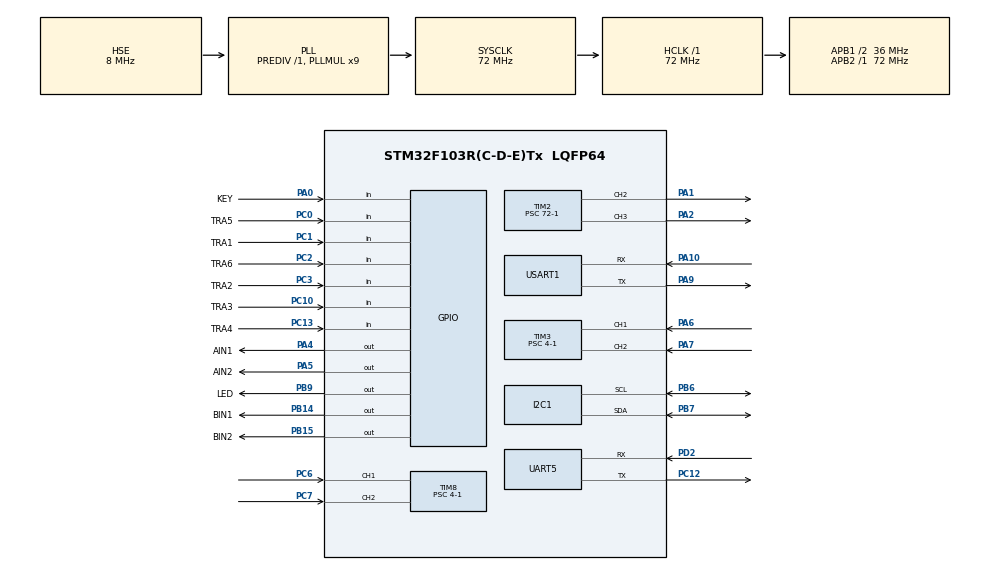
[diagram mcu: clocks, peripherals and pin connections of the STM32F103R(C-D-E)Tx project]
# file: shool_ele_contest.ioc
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I2C1.I2C_Mode=I2C_Fast
Mcu.Family=STM32F1
Mcu.Name=STM32F103R(C-D-E)Tx
Mcu.Package=LQFP64
NVIC.PriorityGroup=NVIC_PRIORITYGROUP_4
NVIC.TIM4_IRQn=true\:0\:0\:false\:false\:true\:true\:true\:true
NVIC.UART5_IRQn=true\:0\:0\:false\:false\:true\:true\:true\:true
PA0-WKUP.GPIO_Label=KEY
PA0-WKUP.GPIO_PuPd=GPIO_PULLDOWN
PA0-WKUP.Signal=GPIO_Input
PA1.Signal=S_TIM2_CH2
PA10.Mode=Asynchronous
PA10.Signal=USART1_RX
PA13.Mode=Serial_Wire
PA13.Signal=SYS_JTMS-SWDIO
PA14.Mode=Serial_Wire
PA14.Signal=SYS_JTCK-SWCLK
PA2.Signal=S_TIM2_CH3
PA4.GPIO_Label=AIN1
PA4.Signal=GPIO_Output
PA5.GPIO_Label=AIN2
PA5.Signal=GPIO_Output
PA6.Signal=S_TIM3_CH1
PA7.Signal=S_TIM3_CH2
PA9.Mode=Asynchronous
PA9.Signal=USART1_TX
PB14.GPIO_Label=BIN1
PB14.Signal=GPIO_Output
PB15.GPIO_Label=BIN2
PB15.Signal=GPIO_Output
PB6.Mode=I2C
PB6.Signal=I2C1_SCL
PB7.Mode=I2C
PB7.Signal=I2C1_SDA
PB9.GPIO_Label=LED
PB9.Signal=GPIO_Output
PC0.GPIO_Label=TRA5
PC0.Signal=GPIO_Input
PC1.GPIO_Label=TRA1
PC1.Signal=GPIO_Input
PC10.GPIO_Label=TRA3
PC10.Signal=GPIO_Input
PC12.Mode=Asynchronous
PC12.Signal=UART5_TX
PC13-TAMPER-RTC.GPIO_Label=TRA4
PC13-TAMPER-RTC.Signal=GPIO_Input
PC14-OSC32_IN.Mode=LSE-External-Oscillator
PC14-OSC32_IN.Signal=RCC_OSC32_IN
PC15-OSC32_OUT.Mode=LSE-External-Oscillator
PC15-OSC32_OUT.Signal=RCC_OSC32_OUT
PC2.GPIO_Label=TRA6
PC2.Signal=GPIO_Input
PC3.GPIO_Label=TRA2
PC3.Signal=GPIO_Input
PC6.Signal=S_TIM8_CH1
PC7.Signal=S_TIM8_CH2
PD0-OSC_IN.Mode=HSE-External-Oscillator
PD0-OSC_IN.Signal=RCC_OSC_IN
PD1-OSC_OUT.Mode=HSE-External-Oscillator
PD1-OSC_OUT.Signal=RCC_OSC_OUT
PD2.Mode=Asynchronous
PD2.Signal=UART5_RX
ProjectManager.HeapSize=0x200
ProjectManager.StackSize=0x400
ProjectManager.TargetToolchain=MDK-ARM V5.32
RCC.AHBFreq_Value=72000000
RCC.APB1CLKDivider=RCC_HCLK_DIV2
RCC.APB1Freq_Value=36000000
RCC.APB1TimFreq_Value=72000000
RCC.APB2Freq_Value=72000000
RCC.APB2TimFreq_Value=72000000
RCC.HCLKFreq_Value=72000000
RCC.PLLMUL=RCC_PLL_MUL9
RCC.PLLSourceVirtual=RCC_PLLSOURCE_HSE
RCC.SYSCLKFreq_VALUE=72000000
RCC.SYSCLKSource=RCC_SYSCLKSOURCE_PLLCLK
RCC.USBFreq_Value=72000000
SH.S_TIM2_CH2.0=TIM2_CH2,PWM Generation2 CH2
SH.S_TIM2_CH3.0=TIM2_CH3,PWM Generation3 CH3
SH.S_TIM3_CH1.0=TIM3_CH1,Encoder_Interface
SH.S_TIM3_CH2.0=TIM3_CH2,Encoder_Interface
SH.S_TIM8_CH1.0=TIM8_CH1,Encoder_Interface
SH.S_TIM8_CH2.0=TIM8_CH2,Encoder_Interface
TIM2.AutoReloadPreload=TIM_AUTORELOAD_PRELOAD_ENABLE
TIM2.Channel-PWM\ Generation2\ CH2=TIM_CHANNEL_2
TIM2.Channel-PWM\ Generation3\ CH3=TIM_CHANNEL_3
TIM2.Period=10000-1
TIM2.Prescaler=72-1
TIM3.AutoReloadPreload=TIM_AUTORELOAD_PRELOAD_ENABLE
TIM3.EncoderMode=TIM_ENCODERMODE_TI12
TIM3.Prescaler=4-1
TIM4.AutoReloadPreload=TIM_AUTORELOAD_PRELOAD_ENABLE
TIM4.Period=10-1
TIM4.Prescaler=7200-1
TIM8.AutoReloadPreload=TIM_AUTORELOAD_PRELOAD_ENABLE
TIM8.EncoderMode=TIM_ENCODERMODE_TI12
TIM8.Prescaler=4-1
UART5.VirtualMode=Asynchronous
USART1.VirtualMode=VM_ASYNC
VP_TIM4_VS_ClockSourceINT.Mode=Internal
board=custom

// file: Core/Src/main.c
/* USER CODE BEGIN Header */
/**
  ******************************************************************************
  * @file           : main.c
  * @brief          : Main program body
  ******************************************************************************
  * @attention
  *
  * Copyright (c) 2026 STMicroelectronics.
  * All rights reserved.
  *
  * This software is licensed under terms that can be found in the LICENSE file
  * in the root directory of this software component.
  * If no LICENSE file comes with this software, it is provided AS-IS.
  *
  ******************************************************************************
  */
/* USER CODE END Header */
#include "main.h"
#include "i2c.h"
#include "tim.h"
#include "usart.h"
#include "gpio.h"

/* USER CODE BEGIN Includes */
#include <stdio.h> //printf头文件
#include <string.h>  //计算数组长度函数
#include <String.h> //判断接收缓冲区头文件
#include "motor.h"
#include "encoder.h"
#include "pid.h"
#include "struct_typedef.h"
#include "Tracking.h"
#include "tapkey.h"
#include "OLED.h"
#include "Buzzer.h"
/* USER CODE END Includes */

/* USER CODE BEGIN PM */
#define LENGTH  1 //定义接收缓冲区一大小
/* USER CODE END PM */

/* USER CODE BEGIN PV */
uint8_t RxBuff[LENGTH]={0};//接收缓冲区一
uint8_t RxCount;
/* USER CODE END PV */

void SystemClock_Config(void);

/* USER CODE BEGIN 0 */
//获取实际速度
int16_t Actual_Speed_0;
int16_t Actual_Speed_1;

//定义目标速度
int16_t target_speed_0=-10;
int16_t target_speed_1=-10;
//定义循迹标志位
uint8_t Trflag=0;
uint8_t State_T=0;//开启循迹标志位
//定义串口标志位
uint8_t Rxflag=0;
//定义接收字符串
uint8_t lastchar=0;
uint8_t lastchar_3=0;
/* USER CODE END 0 */

int main(void)
{

  /* USER CODE BEGIN 1 */
/*
	标志位定义
*/
uint8_t Mode_3=0;//开启模式标志位
//定义处理转弯标志位。完成两次转弯后取消转弯标志位
uint8_t Left=0;
uint8_t Right=0;
//定义转弯标志位（判断发挥题从左转入还是从右转入）
uint8_t Judge_1=0; //1为左2为右
//轻触开关标志位
uint8_t tapkey=0;
  /* USER CODE END 1 */

  /* MCU Configuration--------------------------------------------------------*/

  /* Reset of all peripherals, Initializes the Flash interface and the Systick. */
  HAL_Init();

  /* Configure the system clock */
  SystemClock_Config();

  /* Initialize all configured peripherals */
  MX_GPIO_Init();
  MX_USART1_UART_Init();
  MX_TIM4_Init();
  MX_TIM2_Init();
  MX_TIM3_Init();
  MX_TIM8_Init();
  MX_UART5_Init();
  MX_I2C1_Init();
  /* USER CODE BEGIN 2 */
  //开启定时器中断
  HAL_TIM_Base_Start_IT(&htim4);
    //PWM初始化
  HAL_TIM_PWM_Start(&htim2,TIM_CHANNEL_3);
  HAL_TIM_PWM_Start(&htim2,TIM_CHANNEL_2);
  //编码器初始化
   encoder_init();
  //串口接受函数一中断使能
  HAL_UART_Receive_IT(&huart5,RxBuff,LENGTH);
 //硬件IIC初始化
  MX_I2C1_Init();
  //OLED初始化并清屏
  OLED_Init();

  /* USER CODE END 2 */

  /* Infinite loop */
  /* USER CODE BEGIN WHILE */
 while(1)
 {
//	State_T=0;
//	 printf("%d,%d\r\n",Trflag,lastchar);//测试代码
	 if(HAL_GPIO_ReadPin(GPIOA,KEY_Pin)==1)//按键按下
	 {
		 break;
	 }

 }
  while (1)
  {

		State_T=1;//开启循迹
	  OLED_ShowNum(1, 1, lastchar);//测试代码
	  OLED_ShowNum(1, 4, Trflag);//测试代码

	  /*
	  逻辑处理区
	  */

			 //转弯传值函数
			 if(Trflag==1&&lastchar==48)//lastchar=48置直行标志位(处理发挥第一问)
			 {
				 OLED_ShowNum(1, 1, lastchar);
					State_T=1;
					HAL_Delay(2000);
					State_T=0;
					Turn_Back();
					State_T=1;
					lastchar=100;//进入发挥第一问掉头标志位
				 OLED_ShowNum(1, 1, lastchar);
			}
			//处理中病房走入远端病房
			 else if(Trflag==1&&lastchar==57&&Judge_1==1)//左转进入中端病房
			 {
				 State_T=0;
				Turn_Left(); //左转出中端病房
				set_speed(-15,0);
				set_speed(-15,0);
				 State_T=1;
				 OLED_ShowNum(1, 1, lastchar);
			 }
			 else if(Trflag==1&&lastchar==57&&Judge_1==2)//右转进入中端病房
			 {
				 State_T=0;
				Turn_Right(); //右转出中端病房
				set_speed(-15,0);
				set_speed(-15,0);
				 State_T=1;
				 OLED_ShowNum(1, 1, lastchar);
			 }
			if(Trflag==1&&lastchar==49)
			{
				OLED_ShowNum(1, 1, lastchar);
				State_T=0;
				Turn_Left();
				set_speed(-15,0);
				set_speed(-15,0);
				//HAL_Delay(500);
				//printf("%d,%d\r\n",Trflag,lastchar);//测试代码
				State_T=1;
				HAL_Delay(2000);
				State_T=0;
				Turn_Back();
//				State_T=1;
				Judge_1=1;  //表示先是左转转入
				lastchar=81;//进入右转掉头回去的标志位
				OLED_ShowNum(1, 1, lastchar);
			}
			else if(Trflag==1&&lastchar==50)
			{
				OLED_ShowNum(1, 1, lastchar);
				State_T=0;
				Turn_Right();
				set_speed(-15,0);
				set_speed(-15,0);
				//HAL_Delay(500);
				printf("%d,%d\r\n",Trflag,lastchar);//测试代码
				State_T=1;
				HAL_Delay(2000);
				State_T=0;
				Turn_Back();
				State_T=1;
				Judge_1=2;
				lastchar=80;//进入左转掉头回去的标志位
				OLED_ShowNum(1, 1, lastchar);
			}
			//特殊处理基础第三问，四个字母时
			else if (Trflag==1&&lastchar==51)
			{
				State_T=0;
				Turn_Left();
				State_T=1;
				Mode_3=49;//置第三问特殊处理标志位
				printf("%d,%d,%d\r\n",Trflag,lastchar,Mode_3);//测试代码
				HAL_Delay(200);
				OLED_ShowNum(1, 1, lastchar);
			}
			else if (Trflag==1&&lastchar==52)
			{
				State_T=0;
				Turn_Right();
				State_T=1;
				Mode_3=49;//置第三问特殊处理标志位
				printf("%d,%d,%d\r\n",Trflag,lastchar,Mode_3);//测试代码
				HAL_Delay(200);
				lastchar=0;//转弯完成之后清零标志位
				OLED_ShowNum(1, 1, lastchar);
			}
			//掉头返回处理
			if(Trflag==1&&lastchar==80)//全黑以及在左转弯向右掉头
			{
				//Buzzer();
				State_T=0;
				Turn_Left();
	//			printf("%d,%d\r\n",Trflag,lastchar);//测试代码
	//			HAL_Delay(200);
				State_T=1;
				lastchar=0;
				OLED_ShowNum(1, 1, lastchar);
			}
			else if (Trflag==1&&lastchar==81)
			{
				//Buzzer();
				State_T=0;
				Turn_Right();
	//			printf("%d,%d\r\n",Trflag,lastchar);//测试代码
	//			HAL_Delay(200);
				State_T=1;
				lastchar=0;
				OLED_ShowNum(1, 1, lastchar);
			}
			//第三问掉头返回处理
			if((Trflag==2&&Mode_3==49&&lastchar==80)||(Trflag==2&&Mode_3==49&&lastchar_3==80))
			{
				Buzzer();
				State_T=0;
				Turn_Left();
				HAL_Delay(200);
	//			printf("%d,%d\r\n",Trflag,lastchar);//测试代码
	//			HAL_Delay(200);
				lastchar=81;

				Left+=1;
				State_T=1;
				HAL_Delay(500);
				OLED_ShowNum(1, 1, lastchar);
			}
			else if((Trflag==3&&Mode_3==49&&lastchar==81)||(Trflag==3&&Mode_3==49&&lastchar_3==81))
			{
				Buzzer();
				State_T=0;
				Turn_Right();
				HAL_Delay(200);
	//			printf("%d,%d\r\n",Trflag,lastchar);//测试代码
	//			HAL_Delay(200);
				lastchar=80;
				Right+=1;
				State_T=1;
				HAL_Delay(500);
				lastchar_3=81;
				OLED_ShowNum(1, 1, lastchar);
			}
			//清除左右转标志位
			if((Left==1&&Right==1)||Left==2||Right==2)
			{
				lastchar=0;//转弯完成后关掉转弯标注位防止再次转弯
				Mode_3=0;
			}
			//判断发挥第一问
			if(lastchar==100&&Judge_1==1)
			{
				lastchar=80;
			}
			else if(lastchar==100&&Judge_1==2)
			{
				lastchar=81;
			}
	/* USER CODE END WHILE */

  }
}

void SystemClock_Config(void)
{
  RCC_OscInitTypeDef RCC_OscInitStruct = {0};
  RCC_ClkInitTypeDef RCC_ClkInitStruct = {0};

  /** Initializes the RCC Oscillators according to the specified parameters
  * in the RCC_OscInitTypeDef structure.
  */
  RCC_OscInitStruct.OscillatorType = RCC_OSCILLATORTYPE_HSE;
  RCC_OscInitStruct.HSEState = RCC_HSE_ON;
  RCC_OscInitStruct.HSEPredivValue = RCC_HSE_PREDIV_DIV1;
  RCC_OscInitStruct.HSIState = RCC_HSI_ON;
  RCC_OscInitStruct.PLL.PLLState = RCC_PLL_ON;
  RCC_OscInitStruct.PLL.PLLSource = RCC_PLLSOURCE_HSE;
  RCC_OscInitStruct.PLL.PLLMUL = RCC_PLL_MUL9;
  if (HAL_RCC_OscConfig(&RCC_OscInitStruct) != HAL_OK)
  {
    Error_Handler();
  }

  /** Initializes the CPU, AHB and APB buses clocks
  */
  RCC_ClkInitStruct.ClockType = RCC_CLOCKTYPE_HCLK|RCC_CLOCKTYPE_SYSCLK
                              |RCC_CLOCKTYPE_PCLK1|RCC_CLOCKTYPE_PCLK2;
  RCC_ClkInitStruct.SYSCLKSource = RCC_SYSCLKSOURCE_PLLCLK;
  RCC_ClkInitStruct.AHBCLKDivider = RCC_SYSCLK_DIV1;
  RCC_ClkInitStruct.APB1CLKDivider = RCC_HCLK_DIV2;
  RCC_ClkInitStruct.APB2CLKDivider = RCC_HCLK_DIV1;

  if (HAL_RCC_ClockConfig(&RCC_ClkInitStruct, FLASH_LATENCY_2) != HAL_OK)
  {
    Error_Handler();
  }
}

/* USER CODE BEGIN 4 */
/* USER CODE BEGIN 4 */
void HAL_UART_RxCpltCallback(UART_HandleTypeDef *huart)
{
	if(huart->Instance==UART5)
	{
		if(RxBuff[0] == 0x0D || RxBuff[0] == 0x0A)

		{
			HAL_UART_Receive_IT(&huart5, RxBuff, LENGTH);
			return;
		}
		lastchar = RxBuff[0];
		//重新开启接收函数一
		HAL_UART_Receive_IT(&huart5, RxBuff, LENGTH);
	}
}
/**
  * @brief   重定义printf函数
*/
int fputc(int ch, FILE *f)
{
	HAL_UART_Transmit(&huart1,(uint8_t *)&ch,1,HAL_MAX_DELAY);
	return ch;
}
/**
	* @brief  定时器中断回流函数
	* @param  htim定时器指针
	* @retval 无

*/
void HAL_TIM_PeriodElapsedCallback(TIM_HandleTypeDef *htim)
{
	if(State_T==1)
		{
			Trflag=Tracking();
		}

	static int count=0;
	if(htim->Instance == TIM4)
	{

		count++;
		if(count==80)
		{
			count=0;
			Actual_Speed_0=-get_speed_0();
			Actual_Speed_1=get_speed_1();
			// HAL_GPIO_TogglePin(GPIOB,LED_Pin);
		}
	}
}
/* USER CODE END 4 */

void Error_Handler(void)
{
  __disable_irq();
  while (1)
  {
  }
}
